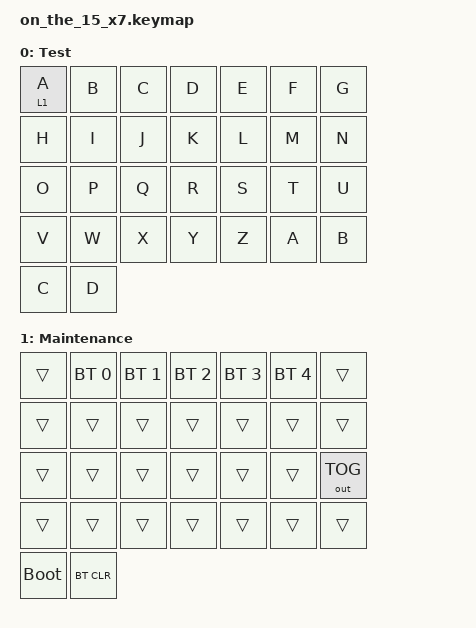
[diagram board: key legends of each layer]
/* Deterministic x7 hardware-test keymap in physical-layout order.
 *
 * The shield's own on_the_15.keymap is 34 keys, laid out for the x8 physical
 * layout it chooses by default. A build that selects on_the_15_x7_layout (see
 * config/x7-layout.overlay) is 30 keys instead - seven columns per half rather
 * than eight - and the keymap has to be exactly as long as the chosen layout,
 * so the x7 repair image builds from this file.
 */

#include <behaviors.dtsi>
#include <dt-bindings/zmk/bt.h>
#include <dt-bindings/zmk/keys.h>
#include <dt-bindings/zmk/outputs.h>

/ {
    behaviors {
        bt_fb: bluetooth_feedback {
            compatible = "onthe15,behavior-bt-feedback";
            #binding-cells = <2>;
            display-name = "Bluetooth Feedback";
        };
    };

    keymap {
        compatible = "zmk,keymap";

        default_layer {
            display-name = "Test";
            bindings = <
&lt 1 A &kp B &kp C &kp D &kp E &kp F &kp G
&kp H   &kp I &kp J &kp K &kp L &kp M &kp N
&kp O   &kp P &kp Q &kp R &kp S &kp T &kp U
&kp V   &kp W &kp X &kp Y &kp Z &kp A &kp B
&kp C   &kp D
            >;
        };

        maintenance_layer: maintenance_layer {
            display-name = "Maintenance";
            bindings = <
&trans       &bt BT_SEL 0 &bt BT_SEL 1 &bt BT_SEL 2 &bt BT_SEL 3 &bt BT_SEL 4 &trans
&trans       &trans       &trans       &trans       &trans       &trans       &trans
&trans       &trans       &trans       &trans       &trans       &trans       &out OUT_TOG
&trans       &trans       &trans       &trans       &trans       &trans       &trans
&bootloader  &bt BT_CLR
            >;
        };
    };
};
